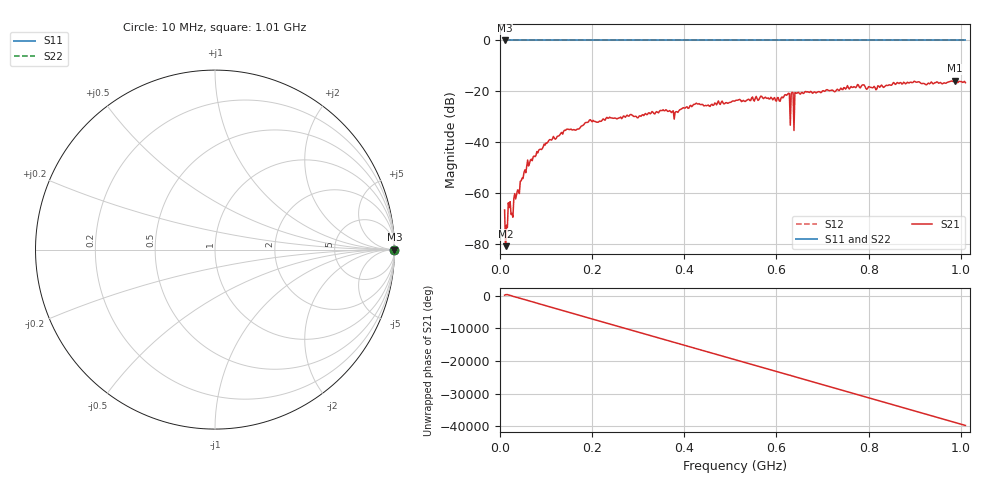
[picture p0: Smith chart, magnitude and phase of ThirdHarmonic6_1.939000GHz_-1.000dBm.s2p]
! 8/16/2025 11:21:48 PM
! C:\ANRITSUVNA\TEMP\TEMP.S2P
! CHANNEL.1
! TR.MEASUREMENT
! RAW.DATA
! RF.CORRECTION.OFF
! AVERAGING.OFF
! IF.BANDWIDTH: 5KHZ
! SWEEPTYPE:  FREQ.SWEEP(Linear)
! Reference Plane Port Info
! PORT:  PORT1  PORT2
! DISTANCE:  0  m  0  m
! TIME:  0  s  0  s
! PHASE.OFFSET:  0  deg.  0  deg.
! LOSS:  0  dB  0  dB
! REF.LOSS:  0  dB  0  dB
! REF.FREQ:  0  Hz  0  Hz
! Power Info
! POWER:  -20  dBm  -20  dBm
! EFF.POWER:  -20  dBm  -20  dBm
! SOURCE.ATTEN:  0  dB  0  dB
! TEST.ATTEN:  0  dB  0  dB
# GHZ S RI R 50.0
! FREQ.GHZ  S11RE  S11IM  S21RE  S21IM  S12RE  S12IM  S22RE  S22IM
!; PortSelection: Port_12
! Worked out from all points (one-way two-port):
!   501 points, 10 MHz to 1.01 GHz, reference 50 ohm
!   highest |S21| = -15.81 dB at 988 MHz (marker M1); lowest = -80.7 dB at 12 MHz (marker M2)
!   lowest |S11| = 0.0 dB at 10 MHz (marker M3)
!   |S11| at or under -10 dB: nowhere
!   |S22| runs from 0.0 to 0.0 dB; largest |S21 - S12| = 1.2
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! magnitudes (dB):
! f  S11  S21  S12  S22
! 10 MHz  0.0  -66.5  0.0  0.0
! 12 MHz  0.0  -80.7  0.0  0.0
! 64 MHz  0.0  -48.3  0.0  0.0
! 112 MHz  0.0  -39.1  0.0  0.0
! 178 MHz  0.0  -33.5  0.0  0.0
! 198 MHz  0.0  -31.5  0.0  0.0
! 344 MHz  0.0  -28.4  0.0  0.0
! 382 MHz  0.0  -28.0  0.0  0.0
! 424 MHz  0.0  -24.9  0.0  0.0
! 510 MHz  0.0  -23.8  0.0  0.0
! 604 MHz  0.0  -22.5  0.0  0.0
! 624 MHz  0.0  -21.1  0.0  0.0
! 626 MHz  0.0  -20.7  0.0  0.0
! 632 MHz  0.0  -20.7  0.0  0.0
! 634 MHz  0.0  -20.4  0.0  0.0
! 636 MHz  0.0  -20.5  0.0  0.0
! 642 MHz  0.0  -20.5  0.0  0.0
! 644 MHz  0.0  -20.7  0.0  0.0
! 678 MHz  0.0  -20.7  0.0  0.0
! 844 MHz  0.0  -17.5  0.0  0.0
! 988 MHz  0.0  -15.8  0.0  0.0
! 1.01 GHz  0.0  -16.6  0.0  0.0
